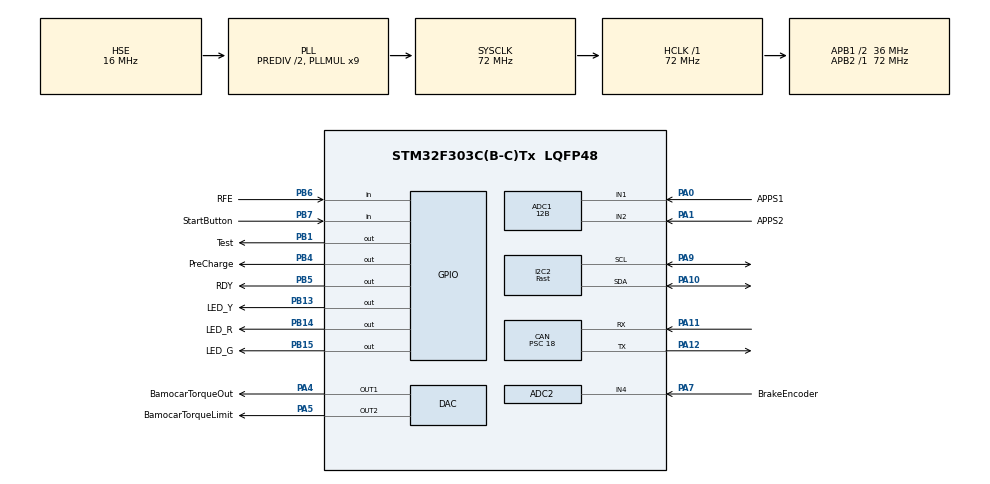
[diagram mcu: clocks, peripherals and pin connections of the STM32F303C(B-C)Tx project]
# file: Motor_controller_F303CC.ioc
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ADC1.Channel-0\#ChannelRegularConversion=ADC_CHANNEL_1
ADC1.Channel-1\#ChannelRegularConversion=ADC_CHANNEL_2
ADC1.Channel-IN2=ADC_CHANNEL_2
ADC1.ClockPrescaler=ADC_CLOCK_SYNC_PCLK_DIV1
ADC1.ContinuousConvMode=DISABLE
ADC1.DMAContinuousRequests=ENABLE
ADC1.DataAlign=ADC_DATAALIGN_RIGHT
ADC1.DiscontinuousConvMode=DISABLE
ADC1.EOCSelection=ADC_EOC_SEQ_CONV
ADC1.EnableAnalogWatchDog1=false
ADC1.EnableAnalogWatchDog2=false
ADC1.EnableAnalogWatchDog3=false
ADC1.EnableInjectedConversion=DISABLE
ADC1.EnableRegularConversion=ENABLE
ADC1.ExternalTrigConv=ADC_EXTERNALTRIGCONV_T6_TRGO
ADC1.ExternalTrigConvEdge=ADC_EXTERNALTRIGCONVEDGE_RISING
ADC1.LowPowerAutoWait=DISABLE
ADC1.NbrOfConversion=2
ADC1.NbrOfConversionFlag=1
ADC1.Offset-0\#ChannelRegularConversion=0
ADC1.Offset-1\#ChannelRegularConversion=0
ADC1.OffsetNumber-0\#ChannelRegularConversion=ADC_OFFSET_NONE
ADC1.OffsetNumber-1\#ChannelRegularConversion=ADC_OFFSET_NONE
ADC1.Overrun=ADC_OVR_DATA_OVERWRITTEN
ADC1.Rank-0\#ChannelRegularConversion=1
ADC1.Rank-1\#ChannelRegularConversion=2
ADC1.Resolution=ADC_RESOLUTION_12B
ADC1.SamplingTime-0\#ChannelRegularConversion=ADC_SAMPLETIME_181CYCLES_5
ADC1.SamplingTime-1\#ChannelRegularConversion=ADC_SAMPLETIME_181CYCLES_5
ADC1.ScanConvMode=ADC_SCAN_ENABLE
ADC1.master=1
ADC2.Channel-10\#ChannelRegularConversion=ADC_CHANNEL_4
ADC2.Channel-IN4=ADC_CHANNEL_4
ADC2.Channel-IN5=ADC_CHANNEL_5
ADC2.ClockPrescaler=ADC_CLOCK_SYNC_PCLK_DIV1
ADC2.ContinuousConvMode=DISABLE
ADC2.DMAContinuousRequests=ENABLE
ADC2.DataAlign=ADC_DATAALIGN_RIGHT
ADC2.DiscontinuousConvMode=DISABLE
ADC2.EOCSelection=ADC_EOC_SEQ_CONV
ADC2.EnableAnalogWatchDog1=false
ADC2.EnableAnalogWatchDog2=false
ADC2.EnableAnalogWatchDog3=false
ADC2.EnableInjectedConversion=DISABLE
ADC2.EnableRegularConversion=ENABLE
ADC2.ExternalTrigConv=ADC_EXTERNALTRIGCONV_T8_TRGO
ADC2.ExternalTrigConvEdge=ADC_EXTERNALTRIGCONVEDGE_RISING
ADC2.LowPowerAutoWait=DISABLE
ADC2.NbrOfConversion=1
ADC2.NbrOfConversionFlag=1
ADC2.Offset-10\#ChannelRegularConversion=0
ADC2.OffsetNumber-10\#ChannelRegularConversion=ADC_OFFSET_NONE
ADC2.Overrun=ADC_OVR_DATA_OVERWRITTEN
ADC2.Rank-10\#ChannelRegularConversion=1
ADC2.Resolution=ADC_RESOLUTION_12B
ADC2.SamplingTime-10\#ChannelRegularConversion=ADC_SAMPLETIME_181CYCLES_5
ADC2.ScanConvMode=ADC_SCAN_DISABLE
ADC2.master=1
CAN.ABOM=ENABLE
CAN.BS1=CAN_BS1_4TQ
CAN.BS2=CAN_BS2_3TQ
CAN.CalculateTimeBit=4000
CAN.CalculateTimeQuantum=500.0
CAN.Prescaler=18
CAN.SJW=CAN_SJW_4TQ
DAC.DAC_Trigger=DAC_TRIGGER_SOFTWARE
DAC.DAC_Trigger2=DAC_TRIGGER_SOFTWARE
Dma.ADC1.0.Direction=DMA_PERIPH_TO_MEMORY
Dma.ADC1.0.Instance=DMA1_Channel1
Dma.ADC1.0.MemDataAlignment=DMA_MDATAALIGN_HALFWORD
Dma.ADC1.0.MemInc=DMA_MINC_ENABLE
Dma.ADC1.0.Mode=DMA_CIRCULAR
Dma.ADC1.0.PeriphDataAlignment=DMA_PDATAALIGN_HALFWORD
Dma.ADC1.0.PeriphInc=DMA_PINC_DISABLE
Dma.ADC1.0.Priority=DMA_PRIORITY_HIGH
Dma.ADC2.1.Direction=DMA_PERIPH_TO_MEMORY
Dma.ADC2.1.Instance=DMA2_Channel1
Dma.ADC2.1.MemDataAlignment=DMA_MDATAALIGN_HALFWORD
Dma.ADC2.1.MemInc=DMA_MINC_ENABLE
Dma.ADC2.1.Mode=DMA_CIRCULAR
Dma.ADC2.1.PeriphDataAlignment=DMA_PDATAALIGN_HALFWORD
Dma.ADC2.1.PeriphInc=DMA_PINC_DISABLE
Dma.ADC2.1.Priority=DMA_PRIORITY_HIGH
Dma.DAC_CH1.2.Direction=DMA_MEMORY_TO_PERIPH
Dma.DAC_CH1.2.Instance=DMA1_Channel3
Dma.DAC_CH1.2.MemDataAlignment=DMA_MDATAALIGN_HALFWORD
Dma.DAC_CH1.2.MemInc=DMA_MINC_DISABLE
Dma.DAC_CH1.2.Mode=DMA_CIRCULAR
Dma.DAC_CH1.2.PeriphDataAlignment=DMA_PDATAALIGN_HALFWORD
Dma.DAC_CH1.2.PeriphInc=DMA_PINC_DISABLE
Dma.DAC_CH1.2.Priority=DMA_PRIORITY_HIGH
Dma.Request0=ADC1
Dma.Request1=ADC2
Dma.Request2=DAC_CH1
FREERTOS.BinarySemaphores01=ADC1,Static,ADC1_SEM_ControlBlock;CAN,Static,CAN_SEM_ControlBlock;ADC2,Static,ADC2_SEM_ControlBlock;Matlab_SEM,Static,Matlab_ControlBlock;CAN_RX,Static,CAN_RXControlBlock;MPU_SEM,Static,MPU_SEM_ControlBlock;MatlabCanSync,Static,MatCanControlBlock
FREERTOS.MEMORY_ALLOCATION=1
FREERTOS.Tasks01=defaultTask,-3,256,StartDefaultTask,Default,NULL,Static,defaultTaskBuffer,defaultTaskControlBlock;CAN_IRQ,1,1024,CAN_IRQ_Entry,Default,NULL,Static,CAN_Buffer,CAN_ControlBlock;Matlab,0,1024,Matlab_Entry,Default,NULL,Static,MatlabBuffer,MatlabControlBlock;ADC1_IRQ,1,1024,ADC1_Entry,Default,NULL,Static,ADC1_Buffer,ADC1_ControlBlock;ADC2_IRQ,1,1024,ADC2_Entry,Default,NULL,Static,ADC2_5Buffer,ADC2_ControlBlock;CAN_IRQ_Rx,2,1024,CAN_IRQ_Rx_Entry,Default,NULL,Static,CAN_Rx_Buffer,CAN_Rx_ControlBlock;TB_CAN,-2,256,TB_CAN_Entry,Default,NULL,Static,TB_CAN_7Buffer,TB_CAN_ControlBlock;MPU,1,256,MPU_Entry,Default,NULL,Static,MPU_Buffer,MPU_ControlBlock
FREERTOS.Timers01=MatlabTimer,MatlabTimerCallback,osTimerPeriodic,Default,NULL,Static,MatlabTimerControlBlock
FREERTOS.configMINIMAL_STACK_SIZE=256
FREERTOS.configTICK_RATE_HZ=50
FREERTOS.configTIMER_TASK_PRIORITY=6
FREERTOS.configTIMER_TASK_STACK_DEPTH=256
FREERTOS.configTOTAL_HEAP_SIZE=32000
FREERTOS.configUSE_TIMERS=1
I2C2.Analog_Filter=I2C_ANALOGFILTER_DISABLE
I2C2.I2C_Coeff_DF=5
I2C2.I2C_Fall_Time=300
I2C2.I2C_Rise_Time=300
I2C2.I2C_Speed_Mode=I2C_Fast
I2C2.Speed=100
I2C2.Timing=0x00300734
Mcu.Family=STM32F3
Mcu.Name=STM32F303C(B-C)Tx
Mcu.Package=LQFP48
NVIC.CAN_RX1_IRQn=true\:5\:0\:false\:false\:true\:true\:true
NVIC.CAN_SCE_IRQn=true\:5\:0\:false\:false\:true\:true\:true
NVIC.DMA1_Channel1_IRQn=true\:5\:0\:false\:false\:true\:true\:false
NVIC.DMA1_Channel3_IRQn=true\:5\:0\:false\:false\:true\:true\:false
NVIC.DMA2_Channel1_IRQn=true\:5\:0\:false\:false\:true\:true\:false
NVIC.PriorityGroup=NVIC_PRIORITYGROUP_4
NVIC.TIM1_UP_TIM16_IRQn=true\:0\:0\:false\:false\:true\:false\:false
NVIC.TimeBase=TIM1_UP_TIM16_IRQn
NVIC.TimeBaseIP=TIM1
NVIC.USB_HP_CAN_TX_IRQn=true\:5\:0\:false\:false\:true\:true\:true
NVIC.USB_LP_CAN_RX0_IRQn=true\:5\:0\:false\:false\:true\:true\:true
PA0.GPIO_Label=APPS1
PA0.Mode=IN1-Single-Ended
PA0.Signal=ADC1_IN1
PA1.GPIO_Label=APPS2
PA1.Mode=IN2-Single-Ended
PA1.Signal=ADC1_IN2
PA10.Mode=I2C
PA10.Signal=I2C2_SDA
PA11.Mode=Master
PA11.Signal=CAN_RX
PA12.Mode=Master
PA12.Signal=CAN_TX
PA13.Mode=Trace_Asynchronous_SW
PA13.Signal=SYS_JTMS-SWDIO
PA14.Mode=Trace_Asynchronous_SW
PA14.Signal=SYS_JTCK-SWCLK
PA4.GPIO_Label=BamocarTorqueOut
PA4.Signal=COMP_DAC1_group
PA5.GPIO_Label=BamocarTorqueLimit
PA5.Signal=COMP_DAC2_group
PA7.GPIO_Label=BrakeEncoder
PA7.Mode=IN4-Single-Ended
PA7.Signal=ADC2_IN4
PA9.Mode=I2C
PA9.Signal=I2C2_SCL
PB1.GPIO_Label=Test
PB1.Signal=GPIO_Output
PB13.GPIO_Label=LED_Y
PB13.Signal=GPIO_Output
PB14.GPIO_Label=LED_R
PB14.Signal=GPIO_Output
PB15.GPIO_Label=LED_G
PB15.Signal=GPIO_Output
PB3.Mode=Trace_Asynchronous_SW
PB3.Signal=SYS_JTDO-TRACESWO
PB4.GPIO_Label=PreCharge
PB4.Signal=GPIO_Output
PB5.GPIO_Label=RDY
PB5.Signal=GPIO_Output
PB6.GPIO_Label=RFE
PB6.Signal=GPIO_Input
PB7.GPIO_Label=StartButton
PB7.Signal=GPIO_Input
PF0-OSC_IN.Mode=HSE-External-Oscillator
PF0-OSC_IN.Signal=RCC_OSC_IN
PF1-OSC_OUT.Mode=HSE-External-Oscillator
PF1-OSC_OUT.Signal=RCC_OSC_OUT
ProjectManager.HeapSize=0x200
ProjectManager.StackSize=0x400
ProjectManager.TargetToolchain=TrueSTUDIO
RCC.AHBFreq_Value=72000000
RCC.APB1CLKDivider=RCC_HCLK_DIV2
RCC.APB1Freq_Value=36000000
RCC.APB1TimFreq_Value=72000000
RCC.APB2Freq_Value=72000000
RCC.APB2TimFreq_Value=72000000
RCC.CortexFreq_Value=72000000
RCC.HCLKFreq_Value=72000000
RCC.HSE_VALUE=16000000
RCC.HSI_VALUE=8000000
RCC.LSE_VALUE=32768
RCC.PLLMUL=RCC_PLL_MUL9
RCC.PLLSourceVirtual=RCC_PLLSOURCE_HSE
RCC.RCC_PLLsource_Clock_Source_FROM_HSE=RCC_HSE_PREDIV_DIV2
RCC.SYSCLKFreq_VALUE=72000000
RCC.SYSCLKSourceVirtual=RCC_SYSCLKSOURCE_PLLCLK
RCC.USBFreq_Value=72000000
SH.COMP_DAC1_group.0=DAC_OUT1,DAC_OUT1
SH.COMP_DAC2_group.0=DAC_OUT2,Enable_DAC_OUT2
TIM6.AutoReloadPreload=TIM_AUTORELOAD_PRELOAD_DISABLE
TIM6.Period=49
TIM6.Prescaler=71
TIM6.TIM_MasterOutputTrigger=TIM_TRGO_UPDATE
TIM8.Channel-Output\ Compare1\ No\ Output=TIM_CHANNEL_1
TIM8.Period=49
TIM8.Prescaler=71
TIM8.TIM_MasterOutputTrigger=TIM_TRGO_UPDATE
TIM8.TIM_MasterOutputTrigger2=TIM_TRGO2_UPDATE
VP_FREERTOS_VS_ENABLE.Mode=Enabled
VP_SYS_VS_tim1.Mode=TIM1
VP_TIM6_VS_ClockSourceINT.Mode=Enable_Timer
VP_TIM8_VS_ClockSourceINT.Mode=Internal
VP_TIM8_VS_no_output1.Mode=Output Compare1 No Output
board=Motor_controller_F303CC

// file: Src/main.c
/**
  ******************************************************************************
  * @file           : main.c
  * @brief          : Main program body
  ******************************************************************************
  * This notice applies to any and all portions of this file
  * that are not between comment pairs USER CODE BEGIN and
  * USER CODE END. Other portions of this file, whether
  * inserted by the user or by software development tools
  * are owned by their respective copyright owners.
  *
  * Copyright (c) 2018 STMicroelectronics International N.V.
  * All rights reserved.
  *
  * Redistribution and use in source and binary forms, with or without
  * modification, are permitted, provided that the following conditions are met:
  *
  * 1. Redistribution of source code must retain the above copyright notice,
  *    this list of conditions and the following disclaimer.
  * 2. Redistributions in binary form must reproduce the above copyright notice,
  *    this list of conditions and the following disclaimer in the documentation
  *    and/or other materials provided with the distribution.
  * 3. Neither the name of STMicroelectronics nor the names of other
  *    contributors to this software may be used to endorse or promote products
  *    derived from this software without specific written permission.
  * 4. This software, including modifications and/or derivative works of this
  *    software, must execute solely and exclusively on microcontroller or
  *    microprocessor devices manufactured by or for STMicroelectronics.
  * 5. Redistribution and use of this software other than as permitted under
  *    this license is void and will automatically terminate your rights under
  *    this license.
  *
  * THIS SOFTWARE IS PROVIDED BY STMICROELECTRONICS AND CONTRIBUTORS "AS IS"
  * AND ANY EXPRESS, IMPLIED OR STATUTORY WARRANTIES, INCLUDING, BUT NOT
  * LIMITED TO, THE IMPLIED WARRANTIES OF MERCHANTABILITY, FITNESS FOR A
  * PARTICULAR PURPOSE AND NON-INFRINGEMENT OF THIRD PARTY INTELLECTUAL PROPERTY
  * RIGHTS ARE DISCLAIMED TO THE FULLEST EXTENT PERMITTED BY LAW. IN NO EVENT
  * SHALL STMICROELECTRONICS OR CONTRIBUTORS BE LIABLE FOR ANY DIRECT, INDIRECT,
  * INCIDENTAL, SPECIAL, EXEMPLARY, OR CONSEQUENTIAL DAMAGES (INCLUDING, BUT NOT
  * LIMITED TO, PROCUREMENT OF SUBSTITUTE GOODS OR SERVICES; LOSS OF USE, DATA,
  * OR PROFITS; OR BUSINESS INTERRUPTION) HOWEVER CAUSED AND ON ANY THEORY OF
  * LIABILITY, WHETHER IN CONTRACT, STRICT LIABILITY, OR TORT (INCLUDING
  * NEGLIGENCE OR OTHERWISE) ARISING IN ANY WAY OUT OF THE USE OF THIS SOFTWARE,
  * EVEN IF ADVISED OF THE POSSIBILITY OF SUCH DAMAGE.
  *
  ******************************************************************************
  */
#include "main.h"
#include "stm32f3xx_hal.h"
#include "cmsis_os.h"
#include "adc.h"
#include "can.h"
#include "dac.h"
#include "dma.h"
#include "i2c.h"
#include "tim.h"
#include "gpio.h"

/* USER CODE BEGIN PV */
/* Private variables ---------------------------------------------------------*/

/* USER CODE END PV */

void SystemClock_Config(void);
void MX_FREERTOS_Init(void);

/* USER CODE BEGIN PFP */
/* Private function prototypes -----------------------------------------------*/

/* USER CODE END PFP */

int main(void)
{

  /* MCU Configuration----------------------------------------------------------*/

  /* Reset of all peripherals, Initializes the Flash interface and the Systick. */
  HAL_Init();

  /* Configure the system clock */
  SystemClock_Config();

  /* Initialize all configured peripherals */
  MX_GPIO_Init();
  MX_DMA_Init();
  MX_ADC1_Init();
  MX_ADC2_Init();
  MX_TIM6_Init();
  MX_DAC_Init();
  MX_CAN_Init();
  MX_I2C2_Init();
  MX_TIM8_Init();

  /* Call init function for freertos objects (in freertos.c) */
  MX_FREERTOS_Init();

  /* Start scheduler */
  osKernelStart();

  /* We should never get here as control is now taken by the scheduler */

  /* Infinite loop */
  while (1)
  {

  }

}

void SystemClock_Config(void)
{

  RCC_OscInitTypeDef RCC_OscInitStruct;
  RCC_ClkInitTypeDef RCC_ClkInitStruct;
  RCC_PeriphCLKInitTypeDef PeriphClkInit;

    /**Initializes the CPU, AHB and APB busses clocks
    */
  RCC_OscInitStruct.OscillatorType = RCC_OSCILLATORTYPE_HSI|RCC_OSCILLATORTYPE_HSE;
  RCC_OscInitStruct.HSEState = RCC_HSE_ON;
  RCC_OscInitStruct.HSEPredivValue = RCC_HSE_PREDIV_DIV2;
  RCC_OscInitStruct.HSIState = RCC_HSI_ON;
  RCC_OscInitStruct.HSICalibrationValue = 16;
  RCC_OscInitStruct.PLL.PLLState = RCC_PLL_ON;
  RCC_OscInitStruct.PLL.PLLSource = RCC_PLLSOURCE_HSE;
  RCC_OscInitStruct.PLL.PLLMUL = RCC_PLL_MUL9;
  if (HAL_RCC_OscConfig(&RCC_OscInitStruct) != HAL_OK)
  {
    _Error_Handler(__FILE__, __LINE__);
  }

    /**Initializes the CPU, AHB and APB busses clocks
    */
  RCC_ClkInitStruct.ClockType = RCC_CLOCKTYPE_HCLK|RCC_CLOCKTYPE_SYSCLK
                              |RCC_CLOCKTYPE_PCLK1|RCC_CLOCKTYPE_PCLK2;
  RCC_ClkInitStruct.SYSCLKSource = RCC_SYSCLKSOURCE_PLLCLK;
  RCC_ClkInitStruct.AHBCLKDivider = RCC_SYSCLK_DIV1;
  RCC_ClkInitStruct.APB1CLKDivider = RCC_HCLK_DIV2;
  RCC_ClkInitStruct.APB2CLKDivider = RCC_HCLK_DIV1;

  if (HAL_RCC_ClockConfig(&RCC_ClkInitStruct, FLASH_LATENCY_2) != HAL_OK)
  {
    _Error_Handler(__FILE__, __LINE__);
  }

  PeriphClkInit.PeriphClockSelection = RCC_PERIPHCLK_I2C2|RCC_PERIPHCLK_TIM8;
  PeriphClkInit.I2c2ClockSelection = RCC_I2C2CLKSOURCE_HSI;
  PeriphClkInit.Tim8ClockSelection = RCC_TIM8CLK_HCLK;
  if (HAL_RCCEx_PeriphCLKConfig(&PeriphClkInit) != HAL_OK)
  {
    _Error_Handler(__FILE__, __LINE__);
  }

    /**Configure the Systick interrupt time
    */
  HAL_SYSTICK_Config(HAL_RCC_GetHCLKFreq()/1000);

    /**Configure the Systick
    */
  HAL_SYSTICK_CLKSourceConfig(SYSTICK_CLKSOURCE_HCLK);

  /* SysTick_IRQn interrupt configuration */
  HAL_NVIC_SetPriority(SysTick_IRQn, 15, 0);
}

void HAL_TIM_PeriodElapsedCallback(TIM_HandleTypeDef *htim)
{
  if (htim->Instance == TIM1) {
    HAL_IncTick();
  }
}

void _Error_Handler(char *file, int line)
{
  while(1)
  {
  }
}

/************************ (C) COPYRIGHT STMicroelectronics *****END OF FILE****/

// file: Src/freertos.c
/**
  ******************************************************************************
  * File Name          : freertos.c
  * Description        : Code for freertos applications
  ******************************************************************************
  * This notice applies to any and all portions of this file
  * that are not between comment pairs USER CODE BEGIN and
  * USER CODE END. Other portions of this file, whether
  * inserted by the user or by software development tools
  * are owned by their respective copyright owners.
  *
  * Copyright (c) 2018 STMicroelectronics International N.V.
  * All rights reserved.
  *
  * Redistribution and use in source and binary forms, with or without
  * modification, are permitted, provided that the following conditions are met:
  *
  * 1. Redistribution of source code must retain the above copyright notice,
  *    this list of conditions and the following disclaimer.
  * 2. Redistributions in binary form must reproduce the above copyright notice,
  *    this list of conditions and the following disclaimer in the documentation
  *    and/or other materials provided with the distribution.
  * 3. Neither the name of STMicroelectronics nor the names of other
  *    contributors to this software may be used to endorse or promote products
  *    derived from this software without specific written permission.
  * 4. This software, including modifications and/or derivative works of this
  *    software, must execute solely and exclusively on microcontroller or
  *    microprocessor devices manufactured by or for STMicroelectronics.
  * 5. Redistribution and use of this software other than as permitted under
  *    this license is void and will automatically terminate your rights under
  *    this license.
  *
  * THIS SOFTWARE IS PROVIDED BY STMICROELECTRONICS AND CONTRIBUTORS "AS IS"
  * AND ANY EXPRESS, IMPLIED OR STATUTORY WARRANTIES, INCLUDING, BUT NOT
  * LIMITED TO, THE IMPLIED WARRANTIES OF MERCHANTABILITY, FITNESS FOR A
  * PARTICULAR PURPOSE AND NON-INFRINGEMENT OF THIRD PARTY INTELLECTUAL PROPERTY
  * RIGHTS ARE DISCLAIMED TO THE FULLEST EXTENT PERMITTED BY LAW. IN NO EVENT
  * SHALL STMICROELECTRONICS OR CONTRIBUTORS BE LIABLE FOR ANY DIRECT, INDIRECT,
  * INCIDENTAL, SPECIAL, EXEMPLARY, OR CONSEQUENTIAL DAMAGES (INCLUDING, BUT NOT
  * LIMITED TO, PROCUREMENT OF SUBSTITUTE GOODS OR SERVICES; LOSS OF USE, DATA,
  * OR PROFITS; OR BUSINESS INTERRUPTION) HOWEVER CAUSED AND ON ANY THEORY OF
  * LIABILITY, WHETHER IN CONTRACT, STRICT LIABILITY, OR TORT (INCLUDING
  * NEGLIGENCE OR OTHERWISE) ARISING IN ANY WAY OUT OF THE USE OF THIS SOFTWARE,
  * EVEN IF ADVISED OF THE POSSIBILITY OF SUCH DAMAGE.
  *
  ******************************************************************************
  */

#include "FreeRTOS.h"
#include "task.h"
#include "cmsis_os.h"

/* USER CODE BEGIN Includes */
#include "ADC_MC.h"
#include "Matlab.h"
#include "CAN_MC.h"
#include "MPU_6050_MC.h"
#include "dac.h"
/* USER CODE END Includes */

osThreadId defaultTaskHandle;
uint32_t defaultTaskBuffer[ 256 ];
osStaticThreadDef_t defaultTaskControlBlock;
osThreadId CAN_IRQHandle;
uint32_t CAN_Buffer[ 1024 ];
osStaticThreadDef_t CAN_ControlBlock;
osThreadId MatlabHandle;
uint32_t MatlabBuffer[ 1024 ];
osStaticThreadDef_t MatlabControlBlock;
osThreadId ADC1_IRQHandle;
uint32_t ADC1_Buffer[ 1024 ];
osStaticThreadDef_t ADC1_ControlBlock;
osThreadId ADC2_IRQHandle;
uint32_t ADC2_5Buffer[ 1024 ];
osStaticThreadDef_t ADC2_ControlBlock;
osThreadId CAN_IRQ_RxHandle;
uint32_t CAN_Rx_Buffer[ 1024 ];
osStaticThreadDef_t CAN_Rx_ControlBlock;
osThreadId TB_CANHandle;
uint32_t TB_CAN_7Buffer[ 256 ];
osStaticThreadDef_t TB_CAN_ControlBlock;
osThreadId MPUHandle;
uint32_t MPU_Buffer[ 256 ];
osStaticThreadDef_t MPU_ControlBlock;
osTimerId MatlabTimerHandle;
osStaticTimerDef_t MatlabTimerControlBlock;
osSemaphoreId ADC1Handle;
osStaticSemaphoreDef_t ADC1_SEM_ControlBlock;
osSemaphoreId CANHandle;
osStaticSemaphoreDef_t CAN_SEM_ControlBlock;
osSemaphoreId ADC2Handle;
osStaticSemaphoreDef_t ADC2_SEM_ControlBlock;
osSemaphoreId Matlab_SEMHandle;
osStaticSemaphoreDef_t Matlab_ControlBlock;
osSemaphoreId CAN_RXHandle;
osStaticSemaphoreDef_t CAN_RXControlBlock;
osSemaphoreId MPU_SEMHandle;
osStaticSemaphoreDef_t MPU_SEM_ControlBlock;
osSemaphoreId MatlabCanSyncHandle;
osStaticSemaphoreDef_t MatCanControlBlock;

/* USER CODE BEGIN Variables */
//for tests
uint8_t start;
/* USER CODE END Variables */

void StartDefaultTask(void const * argument);
void CAN_IRQ_Entry(void const * argument);
void Matlab_Entry(void const * argument);
void ADC1_Entry(void const * argument);
void ADC2_Entry(void const * argument);
void CAN_IRQ_Rx_Entry(void const * argument);
void TB_CAN_Entry(void const * argument);
void MPU_Entry(void const * argument);
void MatlabTimerCallback(void const * argument);

void MX_FREERTOS_Init(void); /* (MISRA C 2004 rule 8.1) */

/* USER CODE BEGIN FunctionPrototypes */
void HAL_ADC_ConvCpltCallback(ADC_HandleTypeDef* hadc);
void HAL_ADC_ErrorCallback(ADC_HandleTypeDef *hadc);
/* USER CODE END FunctionPrototypes */

/* GetIdleTaskMemory prototype (linked to static allocation support) */
void vApplicationGetIdleTaskMemory( StaticTask_t **ppxIdleTaskTCBBuffer, StackType_t **ppxIdleTaskStackBuffer, uint32_t *pulIdleTaskStackSize );

/* GetTimerTaskMemory prototype (linked to static allocation support) */
void vApplicationGetTimerTaskMemory( StaticTask_t **ppxTimerTaskTCBBuffer, StackType_t **ppxTimerTaskStackBuffer, uint32_t *pulTimerTaskStackSize );

/* Hook prototypes */

/* USER CODE BEGIN GET_IDLE_TASK_MEMORY */
static StaticTask_t xIdleTaskTCBBuffer;
static StackType_t xIdleStack[configMINIMAL_STACK_SIZE];

void vApplicationGetIdleTaskMemory( StaticTask_t **ppxIdleTaskTCBBuffer, StackType_t **ppxIdleTaskStackBuffer, uint32_t *pulIdleTaskStackSize )
{
  *ppxIdleTaskTCBBuffer = &xIdleTaskTCBBuffer;
  *ppxIdleTaskStackBuffer = &xIdleStack[0];
  *pulIdleTaskStackSize = configMINIMAL_STACK_SIZE;
  /* place for user code */
}
/* USER CODE END GET_IDLE_TASK_MEMORY */

/* USER CODE BEGIN GET_TIMER_TASK_MEMORY */
static StaticTask_t xTimerTaskTCBBuffer;
static StackType_t xTimerStack[configTIMER_TASK_STACK_DEPTH];

void vApplicationGetTimerTaskMemory( StaticTask_t **ppxTimerTaskTCBBuffer, StackType_t **ppxTimerTaskStackBuffer, uint32_t *pulTimerTaskStackSize )
{
  *ppxTimerTaskTCBBuffer = &xTimerTaskTCBBuffer;
  *ppxTimerTaskStackBuffer = &xTimerStack[0];
  *pulTimerTaskStackSize = configTIMER_TASK_STACK_DEPTH;
  /* place for user code */
}
/* USER CODE END GET_TIMER_TASK_MEMORY */

/* Init FreeRTOS */

void MX_FREERTOS_Init(void) {

  /* Create the semaphores(s) */
  /* definition and creation of ADC1 */
  osSemaphoreStaticDef(ADC1, &ADC1_SEM_ControlBlock);
  ADC1Handle = osSemaphoreCreate(osSemaphore(ADC1), 1);

  /* definition and creation of CAN */
  osSemaphoreStaticDef(CAN, &CAN_SEM_ControlBlock);
  CANHandle = osSemaphoreCreate(osSemaphore(CAN), 1);

  /* definition and creation of ADC2 */
  osSemaphoreStaticDef(ADC2, &ADC2_SEM_ControlBlock);
  ADC2Handle = osSemaphoreCreate(osSemaphore(ADC2), 1);

  /* definition and creation of Matlab_SEM */
  osSemaphoreStaticDef(Matlab_SEM, &Matlab_ControlBlock);
  Matlab_SEMHandle = osSemaphoreCreate(osSemaphore(Matlab_SEM), 1);

  /* definition and creation of CAN_RX */
  osSemaphoreStaticDef(CAN_RX, &CAN_RXControlBlock);
  CAN_RXHandle = osSemaphoreCreate(osSemaphore(CAN_RX), 1);

  /* definition and creation of MPU_SEM */
  osSemaphoreStaticDef(MPU_SEM, &MPU_SEM_ControlBlock);
  MPU_SEMHandle = osSemaphoreCreate(osSemaphore(MPU_SEM), 1);

  /* definition and creation of MatlabCanSync */
  osSemaphoreStaticDef(MatlabCanSync, &MatCanControlBlock);
  MatlabCanSyncHandle = osSemaphoreCreate(osSemaphore(MatlabCanSync), 1);

  /* Create the timer(s) */
  /* definition and creation of MatlabTimer */
  osTimerStaticDef(MatlabTimer, MatlabTimerCallback, &MatlabTimerControlBlock);
  MatlabTimerHandle = osTimerCreate(osTimer(MatlabTimer), osTimerPeriodic, NULL);

  /* USER CODE BEGIN RTOS_TIMERS */
  /* start timers, add new ones, ... */
  osTimerStart(MatlabTimerHandle,50);
  /* USER CODE END RTOS_TIMERS */

  /* Create the thread(s) */
  /* definition and creation of defaultTask */
  osThreadStaticDef(defaultTask, StartDefaultTask, osPriorityIdle, 0, 256, defaultTaskBuffer, &defaultTaskControlBlock);
  defaultTaskHandle = osThreadCreate(osThread(defaultTask), NULL);

  /* definition and creation of CAN_IRQ */
  osThreadStaticDef(CAN_IRQ, CAN_IRQ_Entry, osPriorityAboveNormal, 0, 1024, CAN_Buffer, &CAN_ControlBlock);
  CAN_IRQHandle = osThreadCreate(osThread(CAN_IRQ), NULL);

  /* definition and creation of Matlab */
  osThreadStaticDef(Matlab, Matlab_Entry, osPriorityNormal, 0, 1024, MatlabBuffer, &MatlabControlBlock);
  MatlabHandle = osThreadCreate(osThread(Matlab), NULL);

  /* definition and creation of ADC1_IRQ */
  osThreadStaticDef(ADC1_IRQ, ADC1_Entry, osPriorityAboveNormal, 0, 1024, ADC1_Buffer, &ADC1_ControlBlock);
  ADC1_IRQHandle = osThreadCreate(osThread(ADC1_IRQ), NULL);

  /* definition and creation of ADC2_IRQ */
  osThreadStaticDef(ADC2_IRQ, ADC2_Entry, osPriorityAboveNormal, 0, 1024, ADC2_5Buffer, &ADC2_ControlBlock);
  ADC2_IRQHandle = osThreadCreate(osThread(ADC2_IRQ), NULL);

  /* definition and creation of CAN_IRQ_Rx */
  osThreadStaticDef(CAN_IRQ_Rx, CAN_IRQ_Rx_Entry, osPriorityHigh, 0, 1024, CAN_Rx_Buffer, &CAN_Rx_ControlBlock);
  CAN_IRQ_RxHandle = osThreadCreate(osThread(CAN_IRQ_Rx), NULL);

  /* definition and creation of TB_CAN */
  osThreadStaticDef(TB_CAN, TB_CAN_Entry, osPriorityLow, 0, 256, TB_CAN_7Buffer, &TB_CAN_ControlBlock);
  TB_CANHandle = osThreadCreate(osThread(TB_CAN), NULL);

  /* definition and creation of MPU */
  osThreadStaticDef(MPU, MPU_Entry, osPriorityAboveNormal, 0, 256, MPU_Buffer, &MPU_ControlBlock);
  MPUHandle = osThreadCreate(osThread(MPU), NULL);

}

/* StartDefaultTask function */
void StartDefaultTask(void const * argument)
{

  /* USER CODE BEGIN StartDefaultTask */
  /* Infinite loop */
  for(;;)
  {
    osDelay(1000);
  }
  /* USER CODE END StartDefaultTask */
}

/* CAN_IRQ_Entry function */
void CAN_IRQ_Entry(void const * argument)
{
  /* USER CODE BEGIN CAN_IRQ_Entry */
	CAN_MC_Init();
	osDelay(3000);
	CAN_MC_CyclicDataEnable();
	osSemaphoreRelease(MatlabCanSyncHandle);
  /* Infinite loop */
  for(;;)
  {
    osSemaphoreWait(CANHandle,osWaitForever);
    CAN_MC_TimerCallback();
  }
  /* USER CODE END CAN_IRQ_Entry */
}

/* Matlab_Entry function */
void Matlab_Entry(void const * argument)
{
  /* USER CODE BEGIN Matlab_Entry */
	Matlab_Init();
	osSemaphoreWait(MatlabCanSyncHandle,osWaitForever);
  /* Infinite loop */
  for(;;)
  {
	  osSemaphoreWait(Matlab_SEMHandle,osWaitForever);
	  GetAPPS1_Data(&rtU.APPS1);
	  GetAPPS2_Data(&rtU.APPS2);
	  GetBSE_Data(&rtU.BrakeEncoder);
	  rtU.START=!GetStartButton();
	  rtU.Voltage=CAN_MC_GetBusDC();
	  rtU.speed=CAN_MC_GetSpeed();
	  rtU.RFE=GetRFE();
	  rtU.CAN_STAT=HAL_CAN_GetError(&hcan);
	  rtU.ADC_STAT=ADC_GetStatus();
	  Matlab_Step();
	  CAN_MC_TorqueCommand(rtY.BamocarTorqueOut_CAN);
	  WritePrecharge(rtY.PRECH);
  }
  /* USER CODE END Matlab_Entry */
}

/* ADC1_Entry function */
void ADC1_Entry(void const * argument)
{
  /* USER CODE BEGIN ADC1_Entry */
	ADC1_MC_Init();
  /* Infinite loop */
  for(;;)
  {
	  osSemaphoreWait(ADC1Handle,osWaitForever);
	  ADC1_IRQ_Handler();
  }
  /* USER CODE END ADC1_Entry */
}

/* ADC2_Entry function */
void ADC2_Entry(void const * argument)
{
  /* USER CODE BEGIN ADC2_Entry */
	ADC2_MC_Init();
  /* Infinite loop */
  for(;;)
  {
	  osSemaphoreWait(ADC2Handle,osWaitForever);
	  ADC2_IRQ_Handler();
  }
  /* USER CODE END ADC2_Entry */
}

/* CAN_IRQ_Rx_Entry function */
void CAN_IRQ_Rx_Entry(void const * argument)
{
  /* USER CODE BEGIN CAN_IRQ_Rx_Entry */
  /* Infinite loop */
  for(;;)
  {
    osSemaphoreWait(CAN_RXHandle,osWaitForever);
    CAN_MC_ReceiveCallback();
  }
  /* USER CODE END CAN_IRQ_Rx_Entry */
}

/* TB_CAN_Entry function */
void TB_CAN_Entry(void const * argument)
{
  /* USER CODE BEGIN TB_CAN_Entry */
	CanTxMsgTypeDef Tx;
  /* Infinite loop */

  for(;;)
  {
    osDelay(1000);
    WriteLED_Green(0);
    osDelay(1000);
    WriteLED_Green(1);
  }
  /* USER CODE END TB_CAN_Entry */
}

/* MPU_Entry function */
void MPU_Entry(void const * argument)
{
  /* USER CODE BEGIN MPU_Entry */
	MPU_6050_Init();
  /* Infinite loop */
  for(;;)
  {
    osSemaphoreWait(MPU_SEMHandle,osWaitForever);
    MPU_6050_GetData();
  }
  /* USER CODE END MPU_Entry */
}

/* MatlabTimerCallback function */
void MatlabTimerCallback(void const * argument)
{
  /* USER CODE BEGIN MatlabTimerCallback */
  osSemaphoreRelease(Matlab_SEMHandle);
  osSemaphoreRelease(CANHandle);
  osSemaphoreRelease(MPU_SEMHandle);
  /* USER CODE END MatlabTimerCallback */
}

/* USER CODE BEGIN Application */
void HAL_ADC_ConvCpltCallback(ADC_HandleTypeDef* hadc)
{
	if(hadc->Instance==ADC1)
	{
		osSemaphoreRelease(ADC1Handle);
		//for Test
		//HAL_GPIO_TogglePin(Test_GPIO_Port,Test_Pin);
	}
	if(hadc->Instance==ADC2)
	{
		osSemaphoreRelease(ADC2Handle);
		//for Test
		//HAL_GPIO_TogglePin(Test_GPIO_Port,Test_Pin);
	}
};

void HAL_CAN_RxCpltCallback(CAN_HandleTypeDef* hcan)
{
	osSemaphoreRelease(CAN_RXHandle);
}

void HAL_CAN_TxCplCallback(CAN_HandleTypeDef* hcan)
{
	osSemaphoreRelease(CANHandle);
}

/* USER CODE END Application */

/************************ (C) COPYRIGHT STMicroelectronics *****END OF FILE****/
